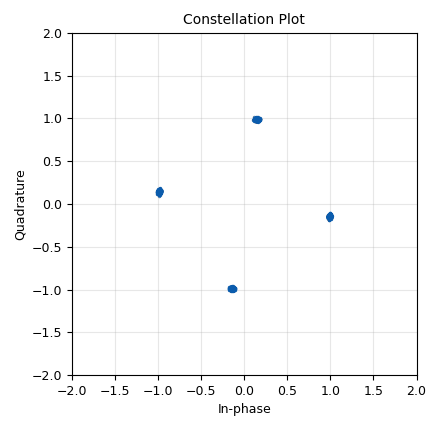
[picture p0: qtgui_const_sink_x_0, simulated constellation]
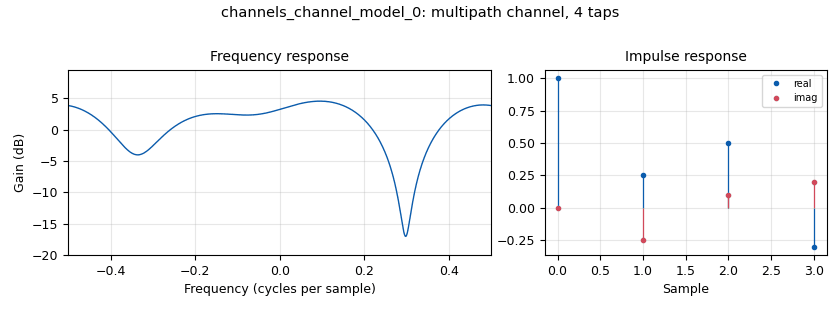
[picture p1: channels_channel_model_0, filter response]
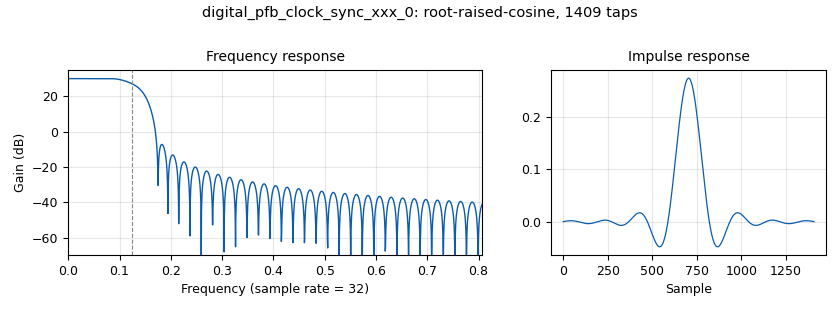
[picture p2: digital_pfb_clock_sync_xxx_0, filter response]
<?xml version='1.0' encoding='utf-8'?>
<?grc format='1' created='3.7.11'?>
<flow_graph>
<block>
<key>options</key>
<param><key>id</key><value>digital_modulation</value></param>
<param><key>generate_options</key><value>wx_gui</value></param>
</block>
<block>
<key>variable</key>
<param><key>id</key><value>arity</value></param>
<param><key>value</key><value>4</value></param>
</block>
<block>
<key>variable_slider</key>
<param><key>id</key><value>eq_gain</value></param>
<param><key>converver</key><value>float_converter</value></param>
<param><key>value</key><value>10e-3</value></param>
<param><key>label</key><value>Equalizer: rate</value></param>
<param><key>max</key><value>100e-3</value></param>
<param><key>min</key><value>0</value></param>
<param><key>num_steps</key><value>100</value></param>
<param><key>style</key><value>wx.SL_HORIZONTAL</value></param>
</block>
<block>
<key>variable</key>
<param><key>id</key><value>excess_bw</value></param>
<param><key>value</key><value>0.35</value></param>
</block>
<block>
<key>variable_slider</key>
<param><key>id</key><value>freq_offset</value></param>
<param><key>converver</key><value>float_converter</value></param>
<param><key>value</key><value>0</value></param>
<param><key>label</key><value>Frequency Offset</value></param>
<param><key>max</key><value>100e-3</value></param>
<param><key>min</key><value>-100e-3</value></param>
<param><key>num_steps</key><value>100</value></param>
<param><key>style</key><value>wx.SL_HORIZONTAL</value></param>
</block>
<block>
<key>variable</key>
<param><key>id</key><value>nfilts</value></param>
<param><key>value</key><value>32</value></param>
</block>
<block>
<key>variable_slider</key>
<param><key>id</key><value>noise_volt</value></param>
<param><key>converver</key><value>int_converter</value></param>
<param><key>value</key><value>0.0001</value></param>
<param><key>label</key><value>Noise Voltage
</value></param>
<param><key>max</key><value>1</value></param>
<param><key>min</key><value>0</value></param>
<param><key>num_steps</key><value>100</value></param>
<param><key>style</key><value>wx.SL_HORIZONTAL</value></param>
</block>
<block>
<key>variable_slider</key>
<param><key>id</key><value>phase_bw</value></param>
<param><key>converver</key><value>float_converter</value></param>
<param><key>value</key><value>62.8/1000</value></param>
<param><key>label</key><value>Phase BW</value></param>
<param><key>max</key><value>1</value></param>
<param><key>min</key><value>0</value></param>
<param><key>num_steps</key><value>100</value></param>
<param><key>style</key><value>wx.SL_HORIZONTAL</value></param>
</block>
<block>
<key>variable_constellation_rect</key>
<param><key>id</key><value>qpsk</value></param>
<param><key>const_points</key><value>[0.707+0.707j, -0.707+0.707j, -0.707-0.707j, 0.707-0.707j]</value></param>
<param><key>imag_sect</key><value>2</value></param>
<param><key>real_sect</key><value>2</value></param>
<param><key>rot_sym</key><value>4</value></param>
<param><key>sym_map</key><value>[0, 1, 2, 3]</value></param>
<param><key>w_imag_sect</key><value>1</value></param>
<param><key>w_real_sect</key><value>1</value></param>
</block>
<block>
<key>variable</key>
<param><key>id</key><value>rrc_taps</value></param>
<param><key>value</key><value>firdes.root_raised_cosine(nfilts, nfilts, 1.0/float(sps), 0.35, 11*sps*nfilts)</value></param>
</block>
<block>
<key>variable</key>
<param><key>id</key><value>samp_rate</value></param>
<param><key>value</key><value>32000</value></param>
</block>
<block>
<key>variable</key>
<param><key>id</key><value>sps</value></param>
<param><key>value</key><value>4</value></param>
</block>
<block>
<key>variable</key>
<param><key>id</key><value>taps</value></param>
<param><key>value</key><value>[1.0, 0.25-0.25j, 0.50 + 0.10j, -0.3 + 0.2j]</value></param>
</block>
<block>
<key>variable_slider</key>
<param><key>id</key><value>time_offset</value></param>
<param><key>converver</key><value>float_converter</value></param>
<param><key>value</key><value>1</value></param>
<param><key>label</key><value>Timing offset</value></param>
<param><key>max</key><value>1.001</value></param>
<param><key>min</key><value>0.999</value></param>
<param><key>num_steps</key><value>100</value></param>
<param><key>style</key><value>wx.SL_HORIZONTAL</value></param>
</block>
<block>
<key>variable_slider</key>
<param><key>id</key><value>timing_loop_bw</value></param>
<param><key>converver</key><value>float_converter</value></param>
<param><key>value</key><value>625/10000</value></param>
<param><key>label</key><value>Time: BW</value></param>
<param><key>max</key><value>200e-3</value></param>
<param><key>min</key><value>0</value></param>
<param><key>num_steps</key><value>100</value></param>
<param><key>style</key><value>wx.SL_HORIZONTAL</value></param>
</block>
<block>
<key>analog_random_source_x</key>
<param><key>id</key><value>analog_random_source_x_0</value></param>
<param><key>max</key><value>256</value></param>
<param><key>min</key><value>0</value></param>
<param><key>num_samps</key><value>10000</value></param>
<param><key>type</key><value>byte</value></param>
<param><key>repeat</key><value>True</value></param>
</block>
<block>
<key>blocks_null_sink</key>
<param><key>id</key><value>blocks_null_sink_0</value></param>
<param><key>bus_conns</key><value>[[0,],]</value></param>
<param><key>type</key><value>byte</value></param>
</block>
<block>
<key>blocks_null_sink</key>
<param><key>id</key><value>blocks_null_sink_0_0</value></param>
<param><key>bus_conns</key><value>[[0,],]</value></param>
<param><key>type</key><value>float</value></param>
</block>
<block>
<key>blocks_null_sink</key>
<param><key>id</key><value>blocks_null_sink_0_0_0</value></param>
<param><key>bus_conns</key><value>[[0,],]</value></param>
<param><key>type</key><value>float</value></param>
</block>
<block>
<key>blocks_null_sink</key>
<param><key>id</key><value>blocks_null_sink_0_0_1</value></param>
<param><key>bus_conns</key><value>[[0,],]</value></param>
<param><key>type</key><value>float</value></param>
</block>
<block>
<key>blocks_throttle</key>
<param><key>id</key><value>blocks_throttle_0</value></param>
<param><key>samples_per_second</key><value>samp_rate</value></param>
<param><key>type</key><value>complex</value></param>
</block>
<block>
<key>channels_channel_model</key>
<param><key>id</key><value>channels_channel_model_0</value></param>
<param><key>epsilon</key><value>time_offset</value></param>
<param><key>freq_offset</key><value>freq_offset</value></param>
<param><key>noise_voltage</key><value>noise_volt</value></param>
<param><key>seed</key><value>0</value></param>
<param><key>taps</key><value>taps</value></param>
</block>
<block>
<key>digital_cma_equalizer_cc</key>
<param><key>id</key><value>digital_cma_equalizer_cc_0</value></param>
<param><key>mu</key><value>eq_gain</value></param>
<param><key>modulus</key><value>1</value></param>
<param><key>num_taps</key><value>15</value></param>
<param><key>sps</key><value>2</value></param>
</block>
<block>
<key>digital_constellation_modulator</key>
<param><key>id</key><value>digital_constellation_modulator_0</value></param>
<param><key>constellation</key><value>qpsk</value></param>
<param><key>differential</key><value>True</value></param>
<param><key>excess_bw</key><value>excess_bw</value></param>
<param><key>samples_per_symbol</key><value>sps</value></param>
</block>
<block>
<key>digital_constellation_receiver_cb</key>
<param><key>id</key><value>digital_constellation_receiver_cb_0</value></param>
<param><key>constellation</key><value>qpsk</value></param>
<param><key>loop_bw</key><value>.36</value></param>
<param><key>fmax</key><value>.9</value></param>
<param><key>fmin</key><value>.6</value></param>
<param><key>showports</key><value>True</value></param>
</block>
<block>
<key>digital_costas_loop_cc</key>
<param><key>id</key><value>digital_costas_loop_cc_0</value></param>
<param><key>w</key><value>phase_bw</value></param>
<param><key>order</key><value>arity</value></param>
</block>
<block>
<key>digital_pfb_clock_sync_xxx</key>
<param><key>id</key><value>digital_pfb_clock_sync_xxx_0</value></param>
<param><key>filter_size</key><value>nfilts</value></param>
<param><key>init_phase</key><value>nfilts/2</value></param>
<param><key>loop_bw</key><value>timing_loop_bw</value></param>
<param><key>max_dev</key><value>1.5</value></param>
<param><key>osps</key><value>2</value></param>
<param><key>sps</key><value>sps</value></param>
<param><key>taps</key><value>rrc_taps</value></param>
<param><key>type</key><value>ccf</value></param>
</block>
<block>
<key>wxgui_constellationsink2</key>
<param><key>id</key><value>qtgui_const_sink_x_0</value></param>
<param><key>const_size</key><value>2048</value></param>
<param><key>frame_rate</key><value>5</value></param>
<param><key>gain_mu</key><value>0.005</value></param>
<param><key>loop_bw</key><value>6.28/100.0</value></param>
<param><key>M</key><value>4</value></param>
<param><key>fmax</key><value>0.06</value></param>
<param><key>mu</key><value>0.5</value></param>
<param><key>omega_limit</key><value>0.005</value></param>
<param><key>samp_rate</key><value>samp_rate</value></param>
<param><key>symbol_rate</key><value>samp_rate/4.</value></param>
<param><key>theta</key><value>0</value></param>
<param><key>title</key><value>Constellation Plot</value></param>
</block>
<connection><source_block_id>analog_random_source_x_0</source_block_id><sink_block_id>digital_constellation_modulator_0</sink_block_id><source_key>0</source_key><sink_key>0</sink_key></connection>
<connection><source_block_id>blocks_throttle_0</source_block_id><sink_block_id>channels_channel_model_0</sink_block_id><source_key>0</source_key><sink_key>0</sink_key></connection>
<connection><source_block_id>channels_channel_model_0</source_block_id><sink_block_id>digital_pfb_clock_sync_xxx_0</sink_block_id><source_key>0</source_key><sink_key>0</sink_key></connection>
<connection><source_block_id>digital_cma_equalizer_cc_0</source_block_id><sink_block_id>digital_costas_loop_cc_0</sink_block_id><source_key>0</source_key><sink_key>0</sink_key></connection>
<connection><source_block_id>digital_constellation_modulator_0</source_block_id><sink_block_id>blocks_throttle_0</sink_block_id><source_key>0</source_key><sink_key>0</sink_key></connection>
<connection><source_block_id>digital_constellation_receiver_cb_0</source_block_id><sink_block_id>blocks_null_sink_0_0</sink_block_id><source_key>1</source_key><sink_key>0</sink_key></connection>
<connection><source_block_id>digital_constellation_receiver_cb_0</source_block_id><sink_block_id>blocks_null_sink_0_0_1</sink_block_id><source_key>3</source_key><sink_key>0</sink_key></connection>
<connection><source_block_id>digital_constellation_receiver_cb_0</source_block_id><sink_block_id>blocks_null_sink_0</sink_block_id><source_key>0</source_key><sink_key>0</sink_key></connection>
<connection><source_block_id>digital_constellation_receiver_cb_0</source_block_id><sink_block_id>blocks_null_sink_0_0_0</sink_block_id><source_key>2</source_key><sink_key>0</sink_key></connection>
<connection><source_block_id>digital_constellation_receiver_cb_0</source_block_id><sink_block_id>qtgui_const_sink_x_0</sink_block_id><source_key>4</source_key><sink_key>0</sink_key></connection>
<connection><source_block_id>digital_costas_loop_cc_0</source_block_id><sink_block_id>digital_constellation_receiver_cb_0</sink_block_id><source_key>0</source_key><sink_key>0</sink_key></connection>
<connection><source_block_id>digital_pfb_clock_sync_xxx_0</source_block_id><sink_block_id>digital_cma_equalizer_cc_0</sink_block_id><source_key>0</source_key><sink_key>0</sink_key></connection>
</flow_graph>
